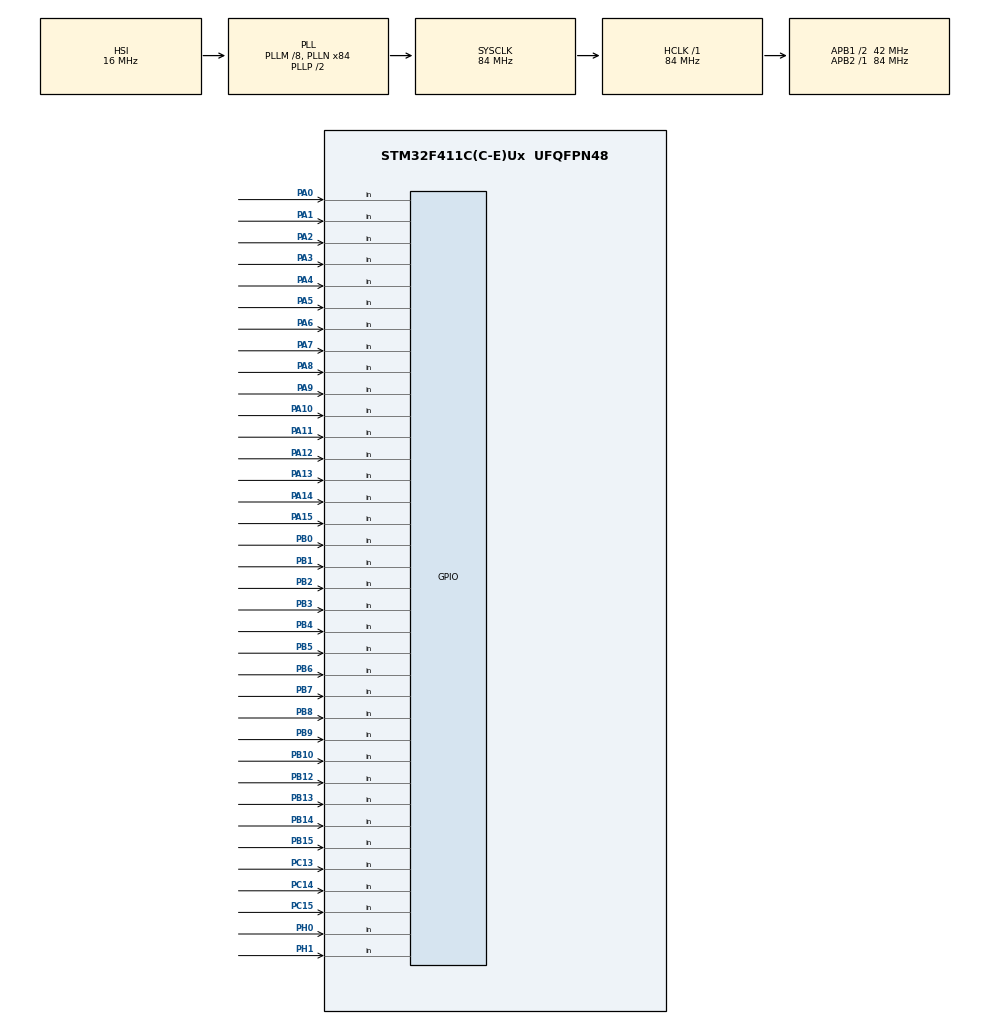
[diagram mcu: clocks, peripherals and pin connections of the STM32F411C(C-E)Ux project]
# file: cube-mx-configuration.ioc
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Mcu.Family=STM32F4
Mcu.Name=STM32F411C(C-E)Ux
Mcu.Package=UFQFPN48
NVIC.PriorityGroup=NVIC_PRIORITYGROUP_4
PA0-WKUP.Signal=GPIO_Input
PA1.Signal=GPIO_Input
PA10.Signal=GPIO_Input
PA11.Signal=GPIO_Input
PA12.Signal=GPIO_Input
PA13.Signal=GPIO_Input
PA14.Signal=GPIO_Input
PA15.Signal=GPIO_Input
PA2.Signal=GPIO_Input
PA3.Signal=GPIO_Input
PA4.Signal=GPIO_Input
PA5.Signal=GPIO_Input
PA6.Signal=GPIO_Input
PA7.Signal=GPIO_Input
PA8.Signal=GPIO_Input
PA9.Signal=GPIO_Input
PB0.Signal=GPIO_Input
PB1.Signal=GPIO_Input
PB10.Signal=GPIO_Input
PB12.Signal=GPIO_Input
PB13.Signal=GPIO_Input
PB14.Signal=GPIO_Input
PB15.Signal=GPIO_Input
PB2.Signal=GPIO_Input
PB3.Signal=GPIO_Input
PB4.Signal=GPIO_Input
PB5.Signal=GPIO_Input
PB6.Signal=GPIO_Input
PB7.Signal=GPIO_Input
PB8.Signal=GPIO_Input
PB9.Signal=GPIO_Input
PC13-ANTI_TAMP.Signal=GPIO_Input
PC14-OSC32_IN.Signal=GPIO_Input
PC15-OSC32_OUT.Signal=GPIO_Input
PH0\ -\ OSC_IN.Signal=GPIO_Input
PH1\ -\ OSC_OUT.Signal=GPIO_Input
ProjectManager.HeapSize=0x200
ProjectManager.StackSize=0x400
ProjectManager.TargetToolchain=STM32CubeIDE
RCC.48MHZClocksFreq_Value=42000000
RCC.AHBFreq_Value=84000000
RCC.APB1CLKDivider=RCC_HCLK_DIV2
RCC.APB1Freq_Value=42000000
RCC.APB1TimFreq_Value=84000000
RCC.APB2Freq_Value=84000000
RCC.APB2TimFreq_Value=84000000
RCC.CortexFreq_Value=84000000
RCC.HCLKFreq_Value=84000000
RCC.HSE_VALUE=25000000
RCC.HSI_VALUE=16000000
RCC.LSE_VALUE=32768
RCC.PLLM=8
RCC.PLLN=84
RCC.SYSCLKFreq_VALUE=84000000
RCC.SYSCLKSource=RCC_SYSCLKSOURCE_PLLCLK
RCC.VCOOutputFreq_Value=168000000
board=custom

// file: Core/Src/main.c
/* USER CODE BEGIN Header */
/**
  ******************************************************************************
  * @file           : main.c
  * @brief          : Main program body
  ******************************************************************************
  * @attention
  *
  * Copyright (c) 2026 STMicroelectronics.
  * All rights reserved.
  *
  * This software is licensed under terms that can be found in the LICENSE file
  * in the root directory of this software component.
  * If no LICENSE file comes with this software, it is provided AS-IS.
  *
  ******************************************************************************
  */
/* USER CODE END Header */
#include "main.h"

/* USER CODE BEGIN Includes */
#include <stdint.h>
#include <stdlib.h>
/* USER CODE END Includes */

/* USER CODE BEGIN PD */
#define BENCH_MAT_SIZE 10500
#define NB_ITERATIONS_MAT_MUL 2000

// Benchmark correct results
#define CORRECT_MAT_MUL_FLOAT_UPPER 0.525
#define CORRECT_MAT_MUL_FLOAT_LOWER 0.524
/* USER CODE END PD */

void SystemClock_Config(void);
static void MX_GPIO_Init(void);

/* USER CODE BEGIN 0 */
uint8_t benchmark_mat_mul_float(uint32_t benchmark_size, uint32_t nb_iteration_mat_mul) {
	float A_value = 1.23456789;
	float B_value = 1.23456789;
	volatile uint8_t correct = 1;
	for (int k = 0; k < nb_iteration_mat_mul; k++) {
		// Three 32-bits matrixes of 72 elements account for 486 kB, which should account for all 8 memory banks in SRAM0 and SRAM1
		float *A = malloc(sizeof(float)*benchmark_size);
		float *B = malloc(sizeof(float)*benchmark_size);
		float *C = malloc(sizeof(float)*benchmark_size);
		for (int i = 0; i < benchmark_size; i++) {
			A[i] = A_value;
			B[i] = B_value;
		}
		for (int i = 0; i < benchmark_size; i++) {
			C[i] = A[i] * B[i] - 1;
		}
		// Verification
		for (int i = 0; i < benchmark_size; i++) {
			if(C[i] > CORRECT_MAT_MUL_FLOAT_UPPER || C[i] < CORRECT_MAT_MUL_FLOAT_LOWER) {
				correct = 0;
			}
		}
		free(A);
		free(B);
		free(C);
	}
	return correct;
}

void SystemClock_Config_HSI_1MHz(void)
{
  RCC_OscInitTypeDef RCC_OscInitStruct = {0};
  RCC_ClkInitTypeDef RCC_ClkInitStruct = {0};

  /** Configure the main internal regulator output voltage
  */
  __HAL_RCC_PWR_CLK_ENABLE();
  __HAL_PWR_VOLTAGESCALING_CONFIG(PWR_REGULATOR_VOLTAGE_SCALE1);

  /** Initializes the RCC Oscillators according to the specified parameters
  * in the RCC_OscInitTypeDef structure.
  */
  RCC_OscInitStruct.OscillatorType = RCC_OSCILLATORTYPE_HSI;
  RCC_OscInitStruct.HSIState = RCC_HSI_ON;
  RCC_OscInitStruct.HSICalibrationValue = RCC_HSICALIBRATION_DEFAULT;
  RCC_OscInitStruct.PLL.PLLState = RCC_PLL_NONE;
  if (HAL_RCC_OscConfig(&RCC_OscInitStruct) != HAL_OK)
  {
    Error_Handler();
  }

  /** Initializes the CPU, AHB and APB buses clocks
  */
  RCC_ClkInitStruct.ClockType = RCC_CLOCKTYPE_HCLK|RCC_CLOCKTYPE_SYSCLK
                              |RCC_CLOCKTYPE_PCLK1|RCC_CLOCKTYPE_PCLK2;
  RCC_ClkInitStruct.SYSCLKSource = RCC_SYSCLKSOURCE_HSI;
  RCC_ClkInitStruct.AHBCLKDivider = RCC_SYSCLK_DIV16;
  RCC_ClkInitStruct.APB1CLKDivider = RCC_HCLK_DIV2;
  RCC_ClkInitStruct.APB2CLKDivider = RCC_HCLK_DIV1;

  if (HAL_RCC_ClockConfig(&RCC_ClkInitStruct, FLASH_LATENCY_3) != HAL_OK)
  {
    Error_Handler();
  }
}

void SystemClock_Config_HSI_16MHz(void)
{
  RCC_OscInitTypeDef RCC_OscInitStruct = {0};
  RCC_ClkInitTypeDef RCC_ClkInitStruct = {0};

  /** Configure the main internal regulator output voltage
  */
  __HAL_RCC_PWR_CLK_ENABLE();
  __HAL_PWR_VOLTAGESCALING_CONFIG(PWR_REGULATOR_VOLTAGE_SCALE1);

  /** Initializes the RCC Oscillators according to the specified parameters
  * in the RCC_OscInitTypeDef structure.
  */
  RCC_OscInitStruct.OscillatorType = RCC_OSCILLATORTYPE_HSI;
  RCC_OscInitStruct.HSIState = RCC_HSI_ON;
  RCC_OscInitStruct.HSICalibrationValue = RCC_HSICALIBRATION_DEFAULT;
  RCC_OscInitStruct.PLL.PLLState = RCC_PLL_NONE;
  if (HAL_RCC_OscConfig(&RCC_OscInitStruct) != HAL_OK)
  {
    Error_Handler();
  }

  /** Initializes the CPU, AHB and APB buses clocks
  */
  RCC_ClkInitStruct.ClockType = RCC_CLOCKTYPE_HCLK|RCC_CLOCKTYPE_SYSCLK
                              |RCC_CLOCKTYPE_PCLK1|RCC_CLOCKTYPE_PCLK2;
  RCC_ClkInitStruct.SYSCLKSource = RCC_SYSCLKSOURCE_HSI;
  RCC_ClkInitStruct.AHBCLKDivider = RCC_SYSCLK_DIV1;
  RCC_ClkInitStruct.APB1CLKDivider = RCC_HCLK_DIV2;
  RCC_ClkInitStruct.APB2CLKDivider = RCC_HCLK_DIV1;

  if (HAL_RCC_ClockConfig(&RCC_ClkInitStruct, FLASH_LATENCY_3) != HAL_OK)
  {
    Error_Handler();
  }
}

void SystemClock_Config_PLL_20MHz(void)
{
  RCC_OscInitTypeDef RCC_OscInitStruct = {0};
  RCC_ClkInitTypeDef RCC_ClkInitStruct = {0};

  /** Configure the main internal regulator output voltage
  */
  __HAL_RCC_PWR_CLK_ENABLE();
  __HAL_PWR_VOLTAGESCALING_CONFIG(PWR_REGULATOR_VOLTAGE_SCALE3);

  /** Initializes the RCC Oscillators according to the specified parameters
  * in the RCC_OscInitTypeDef structure.
  */
  RCC_OscInitStruct.OscillatorType = RCC_OSCILLATORTYPE_HSI;
  RCC_OscInitStruct.HSIState = RCC_HSI_ON;
  RCC_OscInitStruct.HSICalibrationValue = RCC_HSICALIBRATION_DEFAULT;
  RCC_OscInitStruct.PLL.PLLState = RCC_PLL_ON;
  RCC_OscInitStruct.PLL.PLLSource = RCC_PLLSOURCE_HSI;
  RCC_OscInitStruct.PLL.PLLM = 8;
  RCC_OscInitStruct.PLL.PLLN = 80;
  RCC_OscInitStruct.PLL.PLLP = RCC_PLLP_DIV2;
  RCC_OscInitStruct.PLL.PLLQ = 4;
  if (HAL_RCC_OscConfig(&RCC_OscInitStruct) != HAL_OK)
  {
    Error_Handler();
  }

  /** Initializes the CPU, AHB and APB buses clocks
  */
  RCC_ClkInitStruct.ClockType = RCC_CLOCKTYPE_HCLK|RCC_CLOCKTYPE_SYSCLK
                              |RCC_CLOCKTYPE_PCLK1|RCC_CLOCKTYPE_PCLK2;
  RCC_ClkInitStruct.SYSCLKSource = RCC_SYSCLKSOURCE_PLLCLK;
  RCC_ClkInitStruct.AHBCLKDivider = RCC_SYSCLK_DIV4;
  RCC_ClkInitStruct.APB1CLKDivider = RCC_HCLK_DIV2;
  RCC_ClkInitStruct.APB2CLKDivider = RCC_HCLK_DIV1;

  if (HAL_RCC_ClockConfig(&RCC_ClkInitStruct, FLASH_LATENCY_3) != HAL_OK)
  {
    Error_Handler();
  }
}

void SystemClock_Config_PLL_50MHz(void)
{
  RCC_OscInitTypeDef RCC_OscInitStruct = {0};
  RCC_ClkInitTypeDef RCC_ClkInitStruct = {0};

  /** Configure the main internal regulator output voltage
  */
  __HAL_RCC_PWR_CLK_ENABLE();
  __HAL_PWR_VOLTAGESCALING_CONFIG(PWR_REGULATOR_VOLTAGE_SCALE3);

  /** Initializes the RCC Oscillators according to the specified parameters
  * in the RCC_OscInitTypeDef structure.
  */
  RCC_OscInitStruct.OscillatorType = RCC_OSCILLATORTYPE_HSI;
  RCC_OscInitStruct.HSIState = RCC_HSI_ON;
  RCC_OscInitStruct.HSICalibrationValue = RCC_HSICALIBRATION_DEFAULT;
  RCC_OscInitStruct.PLL.PLLState = RCC_PLL_ON;
  RCC_OscInitStruct.PLL.PLLSource = RCC_PLLSOURCE_HSI;
  RCC_OscInitStruct.PLL.PLLM = 8;
  RCC_OscInitStruct.PLL.PLLN = 50;
  RCC_OscInitStruct.PLL.PLLP = RCC_PLLP_DIV2;
  RCC_OscInitStruct.PLL.PLLQ = 4;
  if (HAL_RCC_OscConfig(&RCC_OscInitStruct) != HAL_OK)
  {
    Error_Handler();
  }

  /** Initializes the CPU, AHB and APB buses clocks
  */
  RCC_ClkInitStruct.ClockType = RCC_CLOCKTYPE_HCLK|RCC_CLOCKTYPE_SYSCLK
                              |RCC_CLOCKTYPE_PCLK1|RCC_CLOCKTYPE_PCLK2;
  RCC_ClkInitStruct.SYSCLKSource = RCC_SYSCLKSOURCE_PLLCLK;
  RCC_ClkInitStruct.AHBCLKDivider = RCC_SYSCLK_DIV1;
  RCC_ClkInitStruct.APB1CLKDivider = RCC_HCLK_DIV2;
  RCC_ClkInitStruct.APB2CLKDivider = RCC_HCLK_DIV1;

  if (HAL_RCC_ClockConfig(&RCC_ClkInitStruct, FLASH_LATENCY_3) != HAL_OK)
  {
    Error_Handler();
  }
}

void SystemClock_Config_PLL_84MHz(void)
{
  RCC_OscInitTypeDef RCC_OscInitStruct = {0};
  RCC_ClkInitTypeDef RCC_ClkInitStruct = {0};

  /** Configure the main internal regulator output voltage
  */
  __HAL_RCC_PWR_CLK_ENABLE();
  __HAL_PWR_VOLTAGESCALING_CONFIG(PWR_REGULATOR_VOLTAGE_SCALE2);

  /** Initializes the RCC Oscillators according to the specified parameters
  * in the RCC_OscInitTypeDef structure.
  */
  RCC_OscInitStruct.OscillatorType = RCC_OSCILLATORTYPE_HSI;
  RCC_OscInitStruct.HSIState = RCC_HSI_ON;
  RCC_OscInitStruct.HSICalibrationValue = RCC_HSICALIBRATION_DEFAULT;
  RCC_OscInitStruct.PLL.PLLState = RCC_PLL_ON;
  RCC_OscInitStruct.PLL.PLLSource = RCC_PLLSOURCE_HSI;
  RCC_OscInitStruct.PLL.PLLM = 8;
  RCC_OscInitStruct.PLL.PLLN = 84;
  RCC_OscInitStruct.PLL.PLLP = RCC_PLLP_DIV2;
  RCC_OscInitStruct.PLL.PLLQ = 4;
  if (HAL_RCC_OscConfig(&RCC_OscInitStruct) != HAL_OK)
  {
    Error_Handler();
  }

  /** Initializes the CPU, AHB and APB buses clocks
  */
  RCC_ClkInitStruct.ClockType = RCC_CLOCKTYPE_HCLK|RCC_CLOCKTYPE_SYSCLK
                              |RCC_CLOCKTYPE_PCLK1|RCC_CLOCKTYPE_PCLK2;
  RCC_ClkInitStruct.SYSCLKSource = RCC_SYSCLKSOURCE_PLLCLK;
  RCC_ClkInitStruct.AHBCLKDivider = RCC_SYSCLK_DIV1;
  RCC_ClkInitStruct.APB1CLKDivider = RCC_HCLK_DIV2;
  RCC_ClkInitStruct.APB2CLKDivider = RCC_HCLK_DIV1;

  if (HAL_RCC_ClockConfig(&RCC_ClkInitStruct, FLASH_LATENCY_3) != HAL_OK)
  {
    Error_Handler();
  }
}
/* USER CODE END 0 */

int main(void)
{

  /* MCU Configuration--------------------------------------------------------*/

  /* Reset of all peripherals, Initializes the Flash interface and the Systick. */
  HAL_Init();

  /* USER CODE BEGIN Init */
	// Uncomment the desired configuration
	SystemClock_Config_HSI_1MHz();
	//SystemClock_Config_HSI_16MHz();
	//SystemClock_Config_PLL_20MHz();
	//SystemClock_Config_PLL_50MHz();
	//SystemClock_Config_PLL_84MHz();
  /* USER CODE END Init */

  /* Configure the system clock */

  /* Initialize all configured peripherals */
  MX_GPIO_Init();
  /* USER CODE BEGIN 2 */
	// Setup to reach values from Table 25
	// Disable ART accelerator
	__HAL_FLASH_PREFETCH_BUFFER_DISABLE();
	__HAL_FLASH_INSTRUCTION_CACHE_DISABLE();
	__HAL_FLASH_DATA_CACHE_DISABLE();
	HAL_Delay(2000);
	while(1){
		uint32_t is_correct = benchmark_mat_mul_float(BENCH_MAT_SIZE, NB_ITERATIONS_MAT_MUL);
	}
  /* USER CODE END 2 */
}

void SystemClock_Config(void)
{
  RCC_OscInitTypeDef RCC_OscInitStruct = {0};
  RCC_ClkInitTypeDef RCC_ClkInitStruct = {0};

  /** Configure the main internal regulator output voltage
  */
  __HAL_RCC_PWR_CLK_ENABLE();
  __HAL_PWR_VOLTAGESCALING_CONFIG(PWR_REGULATOR_VOLTAGE_SCALE1);

  /** Initializes the RCC Oscillators according to the specified parameters
  * in the RCC_OscInitTypeDef structure.
  */
  RCC_OscInitStruct.OscillatorType = RCC_OSCILLATORTYPE_HSI;
  RCC_OscInitStruct.HSIState = RCC_HSI_ON;
  RCC_OscInitStruct.HSICalibrationValue = RCC_HSICALIBRATION_DEFAULT;
  RCC_OscInitStruct.PLL.PLLState = RCC_PLL_ON;
  RCC_OscInitStruct.PLL.PLLSource = RCC_PLLSOURCE_HSI;
  RCC_OscInitStruct.PLL.PLLM = 8;
  RCC_OscInitStruct.PLL.PLLN = 84;
  RCC_OscInitStruct.PLL.PLLP = RCC_PLLP_DIV2;
  RCC_OscInitStruct.PLL.PLLQ = 4;
  if (HAL_RCC_OscConfig(&RCC_OscInitStruct) != HAL_OK)
  {
    Error_Handler();
  }

  /** Initializes the CPU, AHB and APB buses clocks
  */
  RCC_ClkInitStruct.ClockType = RCC_CLOCKTYPE_HCLK|RCC_CLOCKTYPE_SYSCLK
                              |RCC_CLOCKTYPE_PCLK1|RCC_CLOCKTYPE_PCLK2;
  RCC_ClkInitStruct.SYSCLKSource = RCC_SYSCLKSOURCE_PLLCLK;
  RCC_ClkInitStruct.AHBCLKDivider = RCC_SYSCLK_DIV1;
  RCC_ClkInitStruct.APB1CLKDivider = RCC_HCLK_DIV2;
  RCC_ClkInitStruct.APB2CLKDivider = RCC_HCLK_DIV1;

  if (HAL_RCC_ClockConfig(&RCC_ClkInitStruct, FLASH_LATENCY_2) != HAL_OK)
  {
    Error_Handler();
  }
}

static void MX_GPIO_Init(void)
{
  GPIO_InitTypeDef GPIO_InitStruct = {0};

  /* GPIO Ports Clock Enable */
  __HAL_RCC_GPIOC_CLK_ENABLE();
  __HAL_RCC_GPIOH_CLK_ENABLE();
  __HAL_RCC_GPIOA_CLK_ENABLE();
  __HAL_RCC_GPIOB_CLK_ENABLE();

  /*Configure GPIO pins : PC13 PC14 PC15 */
  GPIO_InitStruct.Pin = GPIO_PIN_13|GPIO_PIN_14|GPIO_PIN_15;
  GPIO_InitStruct.Mode = GPIO_MODE_INPUT;
  GPIO_InitStruct.Pull = GPIO_PULLDOWN;
  HAL_GPIO_Init(GPIOC, &GPIO_InitStruct);

  /*Configure GPIO pins : PH0 PH1 */
  GPIO_InitStruct.Pin = GPIO_PIN_0|GPIO_PIN_1;
  GPIO_InitStruct.Mode = GPIO_MODE_INPUT;
  GPIO_InitStruct.Pull = GPIO_PULLDOWN;
  HAL_GPIO_Init(GPIOH, &GPIO_InitStruct);

  /*Configure GPIO pins : PA0 PA1 PA2 PA3
                           PA4 PA5 PA6 PA7
                           PA8 PA9 PA10 PA11
                           PA12 PA13 PA14 PA15 */
  GPIO_InitStruct.Pin = GPIO_PIN_0|GPIO_PIN_1|GPIO_PIN_2|GPIO_PIN_3
                          |GPIO_PIN_4|GPIO_PIN_5|GPIO_PIN_6|GPIO_PIN_7
                          |GPIO_PIN_8|GPIO_PIN_9|GPIO_PIN_10|GPIO_PIN_11
                          |GPIO_PIN_12|GPIO_PIN_13|GPIO_PIN_14|GPIO_PIN_15;
  GPIO_InitStruct.Mode = GPIO_MODE_INPUT;
  GPIO_InitStruct.Pull = GPIO_PULLDOWN;
  HAL_GPIO_Init(GPIOA, &GPIO_InitStruct);

  /*Configure GPIO pins : PB0 PB1 PB2 PB10
                           PB12 PB13 PB14 PB15
                           PB3 PB4 PB5 PB6
                           PB7 PB8 PB9 */
  GPIO_InitStruct.Pin = GPIO_PIN_0|GPIO_PIN_1|GPIO_PIN_2|GPIO_PIN_10
                          |GPIO_PIN_12|GPIO_PIN_13|GPIO_PIN_14|GPIO_PIN_15
                          |GPIO_PIN_3|GPIO_PIN_4|GPIO_PIN_5|GPIO_PIN_6
                          |GPIO_PIN_7|GPIO_PIN_8|GPIO_PIN_9;
  GPIO_InitStruct.Mode = GPIO_MODE_INPUT;
  GPIO_InitStruct.Pull = GPIO_PULLDOWN;
  HAL_GPIO_Init(GPIOB, &GPIO_InitStruct);

  /* USER CODE BEGIN MX_GPIO_Init_2 */
  //GPIO_InitStruct.Pin = GPIO_PIN_13;
  //GPIO_InitStruct.Mode = GPIO_MODE_INPUT;
  //GPIO_InitStruct.Pull = GPIO_PULLUP;
  //HAL_GPIO_Init(GPIOC, &GPIO_InitStruct);

  /* USER CODE END MX_GPIO_Init_2 */
}

void Error_Handler(void)
{
  __disable_irq();
  while (1)
  {
  }
}
